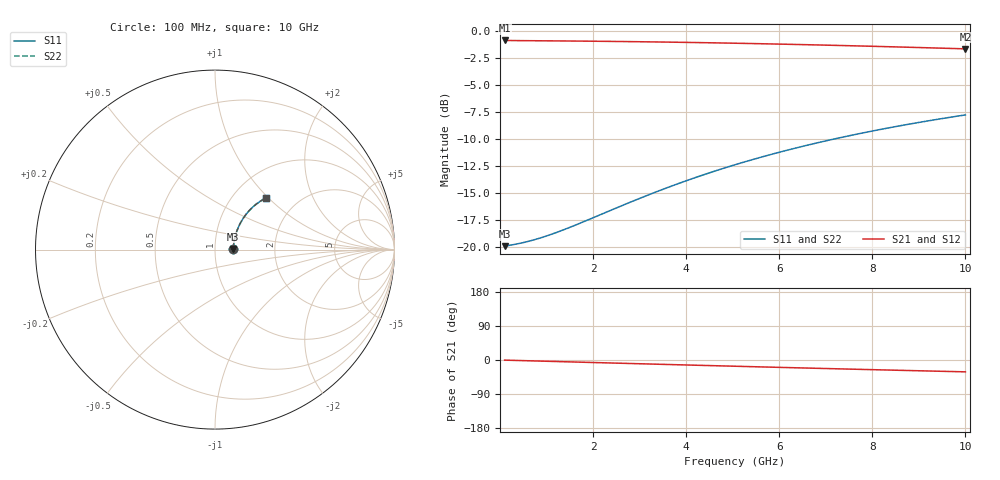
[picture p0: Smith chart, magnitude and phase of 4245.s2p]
# Hz S RI R 50.00
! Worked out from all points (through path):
!   100 points, 100 MHz to 10 GHz, reference 50 ohm
!   highest |S21| = -0.92 dB at 100 MHz (marker M1); lowest = -1.7 dB at 10 GHz (marker M2)
!   group delay of S21, straight-line fit = 8.71 ps
!   lowest |S11| = -19.9 dB at 100 MHz (marker M3), VSWR 1.22, Z = 61.2 + j0.476 ohm
!   |S11| at or under -10 dB: start of sweep to 7.218 GHz
!   |S22| runs from -19.9 to -7.8 dB; largest |S21 - S12| = 0
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1e8  0.1005 0.00385  0.8995 -0.00522  0.8995 -0.00522  0.1005 0.00385
3e8  0.1017 0.0115  0.8983 -0.0156  0.8983 -0.0156  0.1017 0.0115
5e8  0.1027 0.0192  0.8972 -0.026  0.8972 -0.026  0.1027 0.0192
7e8  0.1037 0.0268  0.8962 -0.0363  0.8962 -0.0363  0.1037 0.0268
9e8  0.1049 0.0344  0.8951 -0.0467  0.8951 -0.0467  0.1049 0.0344
1.1e9  0.1061 0.0419  0.8938 -0.0569  0.8938 -0.0569  0.1061 0.0419
1.3e9  0.1074 0.0494  0.8924 -0.0672  0.8924 -0.0672  0.1074 0.0494
1.8e9  0.1115 0.068  0.8882 -0.0926  0.8882 -0.0926  0.1115 0.068
2.8e9  0.1223 0.1042  0.8769 -0.1425  0.8769 -0.1425  0.1223 0.1042
3.4e9  0.1306 0.125  0.8682 -0.1716  0.8682 -0.1716  0.1306 0.125
3.8e9  0.1369 0.1385  0.8617 -0.1905  0.8617 -0.1905  0.1369 0.1385
4.2e9  0.1437 0.1516  0.8546 -0.2091  0.8546 -0.2091  0.1437 0.1516
4.6e9  0.151 0.1644  0.8469 -0.2274  0.8469 -0.2274  0.151 0.1644
5.1e9  0.1609 0.1797  0.8365 -0.2496  0.8365 -0.2496  0.1609 0.1797
5.5e9  0.1693 0.1914  0.8277 -0.2668  0.8277 -0.2668  0.1693 0.1914
5.9e9  0.1781 0.2027  0.8184 -0.2836  0.8184 -0.2836  0.1781 0.2027
6.3e9  0.1874 0.2135  0.8086 -0.2999  0.8086 -0.2999  0.1874 0.2135
6.7e9  0.197 0.2238  0.7985 -0.3158  0.7985 -0.3158  0.197 0.2238
7.5e9  0.2173 0.2429  0.7771 -0.3459  0.7771 -0.3459  0.2173 0.2429
8.4e9  0.2414 0.2618  0.7515 -0.3773  0.7515 -0.3773  0.2414 0.2618
9.2e9  0.2638 0.2764  0.7277 -0.4031  0.7277 -0.4031  0.2638 0.2764
1e10  0.2867 0.2888  0.7032 -0.4267  0.7032 -0.4267  0.2867 0.2888
